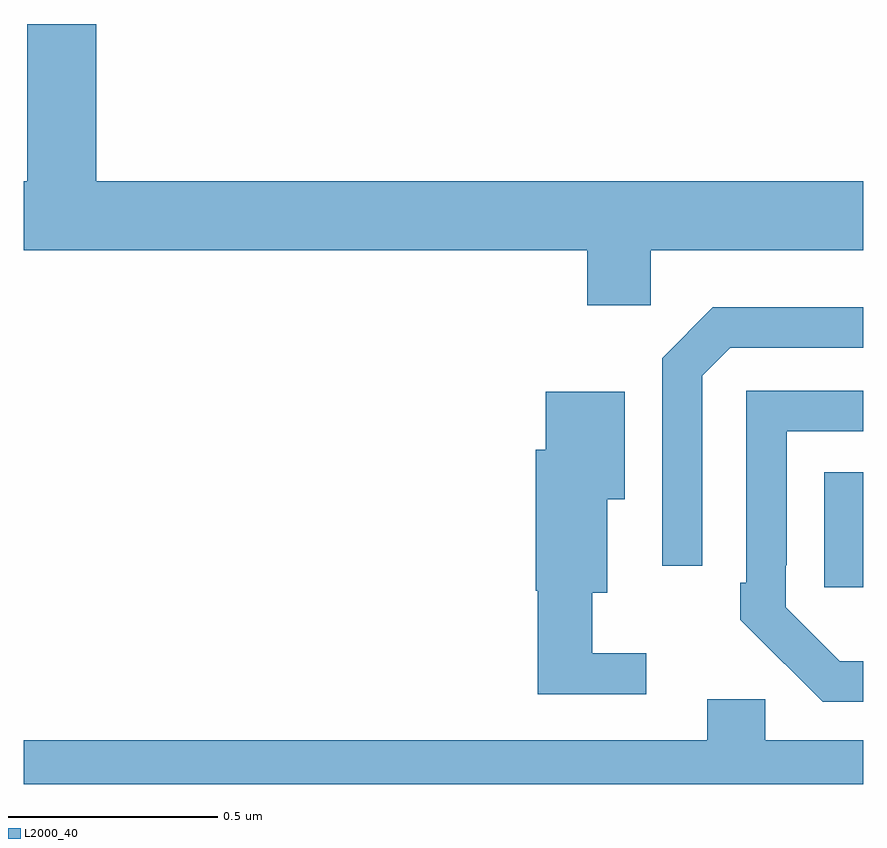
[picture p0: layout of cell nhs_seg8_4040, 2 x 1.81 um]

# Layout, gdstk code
import gdstk
lib = gdstk.Library(unit=1e-6, precision=1e-09)
def R(c, l, rs):  # rectangles x0, y0, x1, y1
    for r in rs: c.add(gdstk.rectangle(r[:2], r[2:], *l))
def P(c, l, *ps):  # polygons
    for p in ps: c.add(gdstk.Polygon(p, *l))
L2000_40 = (2000, 40)

nhs_seg8_4040 = lib.new_cell('nhs_seg8_4040')
R(nhs_seg8_4040, L2000_40, [(166.907,1110.369,167,1110.643)])
P(nhs_seg8_4040, L2000_40, [(166.494,1111.172),(167,1111.172),(167,1111.336),(165.172,1111.336),(165.172,1111.711),(165.008,1111.711),(165.008,1111.336),(165,1111.336),(165,1111.172),(166.343,1111.172),(166.343,1111.041),(166.494,1111.041)],
  [(166.617,1110.873),(166.683,1110.939),(167,1110.939),(167,1111.036),(166.642,1111.036),(166.521,1110.915),(166.521,1110.42),(166.617,1110.42)],
  [(167,1110.193),(166.944,1110.193),(166.815,1110.321),(166.815,1110.421),(166.818,1110.421),(166.818,1110.741),(167,1110.741),(167,1110.837),(166.722,1110.837),(166.722,1110.379),(166.707,1110.379),(166.707,1110.291),(166.812,1110.186),(166.813,1110.187),(166.904,1110.096),(167,1110.096)],
  [(166.483,1110.211),(166.354,1110.211),(166.354,1110.356),(166.39,1110.356),(166.39,1110.578),(166.432,1110.578),(166.432,1110.835),(166.244,1110.835),(166.244,1110.696),(166.22,1110.696),(166.22,1110.36),(166.225,1110.36),(166.225,1110.114),(166.483,1110.114)],
  [(167,1110.004),(166.767,1110.004),(166.767,1110.102),(166.628,1110.102),(166.628,1110.004),(165,1110.004),(165,1109.9),(167,1109.9)])

lib.write_gds('nhs_seg8_4040.gds')
